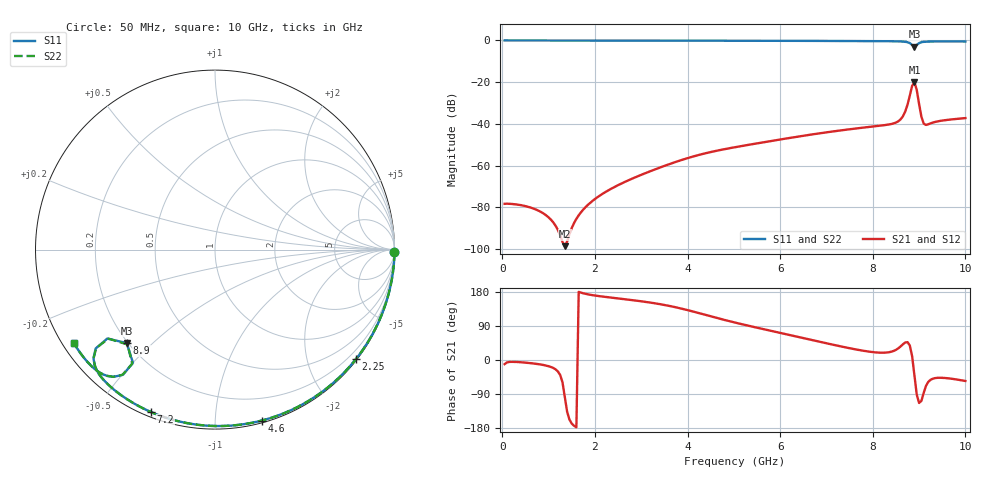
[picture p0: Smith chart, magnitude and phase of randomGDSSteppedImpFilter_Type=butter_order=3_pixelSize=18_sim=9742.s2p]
! freq	dB(S11)	phase(S11)	dB(S12)	phase(S12)
!  dB(S21)	phase(S21)	dB(S22)	phase(S22)
!S-par simulation data
#  GHz  S  DB  R 50
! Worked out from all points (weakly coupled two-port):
!   200 points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, 50 MHz to 10 GHz, reference 50 ohm
!   highest |S21| = -19.97 dB at 8.9 GHz (marker M1); lowest = -98.6 dB at 1.35 GHz (marker M2)
!   lowest |S11| = -2.9 dB at 8.9 GHz (marker M3), VSWR 6.04, Z = 9.76 - j20.9 ohm
!   |S11| at or under -10 dB: nowhere
!   |S22| runs from -2.9 to 0.0 dB; largest |S21 - S12| = 0
!   S11 on the Smith chart (normalised r, x): 50 MHz: open; 2.25 GHz: 0.03, -2.91; 4.6 GHz: 0.02, -1.31; 7.2 GHz: 0.02, -0.68; 8.9 GHz: 0.20, -0.42; 10 GHz: 0.03, -0.30
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0.05  -0.00 -0.9  -78.30 -10.9  -78.30 -10.9  -0.00 -0.9
0.6  -0.01 -10.3  -80.00 -8.1  -80.00 -8.1  -0.01 -10.3
1.35  -0.03 -23.0  -98.58 -98.0  -98.58 -98.0  -0.03 -23.0
1.75  -0.04 -29.6  -81.01 176.0  -81.01 176.0  -0.04 -29.6
2.25  -0.05 -37.9  -72.34 166.1  -72.34 166.1  -0.05 -37.9
3.4  -0.07 -56.3  -60.93 147.5  -60.93 147.5  -0.07 -56.3
4.6  -0.11 -74.6  -52.99 112.1  -52.99 112.1  -0.11 -74.6
5.05  -0.13 -81.3  -51.06 98.1  -51.06 98.1  -0.13 -81.3
6.7  -0.21 -104.7  -45.00 52.3  -45.00 52.3  -0.21 -104.7
7.2  -0.24 -111.6  -43.41 38.7  -43.41 38.7  -0.24 -111.6
8.35  -0.36 -128.3  -40.25 20.5  -40.25 20.5  -0.36 -128.3
8.55  -0.44 -132.1  -38.76 30.7  -38.76 30.7  -0.44 -132.1
8.65  -0.54 -134.7  -36.38 41.3  -36.38 41.3  -0.54 -134.7
8.75  -0.84 -138.2  -30.81 47.1  -30.81 47.1  -0.86 -138.2
8.8  -1.27 -140.4  -26.41 38.3  -26.41 38.3  -1.31 -140.4
8.85  -2.18 -140.4  -21.74 9.8  -21.74 9.8  -2.23 -140.1
8.9  -2.90 -133.4  -19.97 -41.8  -19.97 -41.8  -2.86 -132.7
8.95  -2.17 -125.9  -23.75 -91.8  -23.75 -91.8  -2.10 -125.9
9  -1.26 -126.3  -30.46 -113.4  -30.46 -113.4  -1.23 -126.5
9.05  -0.85 -128.6  -36.52 -107.8  -36.52 -107.8  -0.84 -128.7
9.1  -0.67 -130.5  -39.87 -86.7  -39.87 -86.7  -0.67 -130.6
10  -0.51 -146.7  -37.20 -55.3  -37.20 -55.3  -0.51 -146.7
